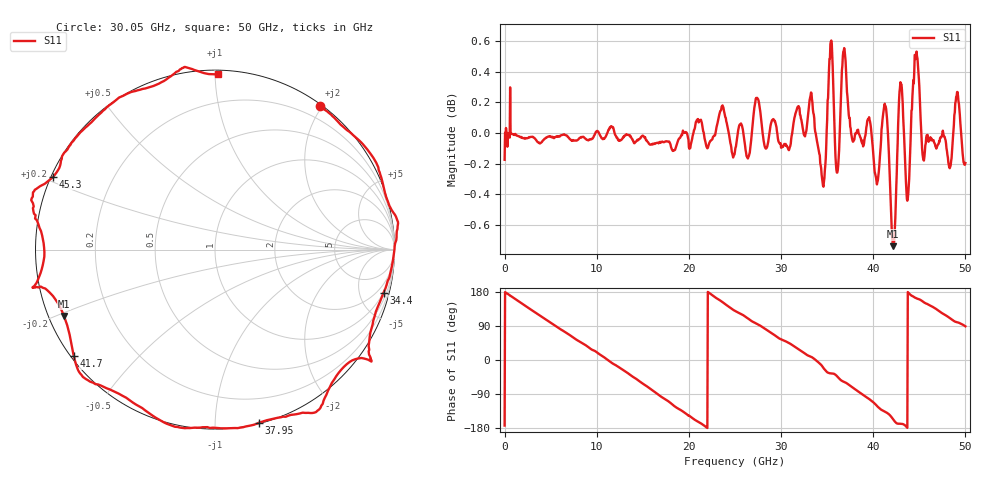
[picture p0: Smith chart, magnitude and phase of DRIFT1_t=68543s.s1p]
!Created with skrf (http://scikit-rf.org).
# Hz S RI R 50.0
!freq ReS11 ImS11
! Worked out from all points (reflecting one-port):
!   1001 points, 300 kHz to 50 GHz, reference 50 ohm
!   lowest |S11| = -0.7 dB at 42.15 GHz (marker M1), VSWR 23.58, Z = 2.21 - j10.5 ohm
!   phase of S11 starts at -173 deg and turns -818 deg over the sweep
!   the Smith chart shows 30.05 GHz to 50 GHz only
!   S11 on the Smith chart (normalised r, x): 30.05 GHz: 0.03, +1.97; 34.4 GHz: 1.00, -7.86; 37.95 GHz: 0.01, -1.29; 41.7 GHz: 0.01, -0.33; 45.3 GHz: 0.01, +0.21; 50 GHz: 0.02, +1.02
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300000  -0.9729 -0.1188
1.450291e9  -0.9123 0.4041
3.25028e9  -0.593 0.8004
6.250262e9  0.1989 0.9786
9.500243e9  0.888 0.4506
1.250022e10  0.9303 -0.3516
1.580021e10  0.2422 -0.9613
1.73502e10  -0.2108 -0.9707
1.875019e10  -0.5983 -0.7925
2.160017e10  -0.9914 -0.1355
2.345016e10  -0.9298 0.4121
2.500015e10  -0.6274 0.7611
2.745014e10  -0.0833 1.023
3.005012e10  0.584 0.7985
3.125011e10  0.782 0.6272
3.31501e10  1.012 0.1713
3.440009e10  0.9393 -0.2391
3.520009e10  0.8637 -0.5951
3.750008e10  0.3788 -0.9307
3.795007e10  0.2463 -0.9641
3.960006e10  -0.239 -0.9813
4.170005e10  -0.7874 -0.5912
4.215005e10  -0.8407 -0.3703
4.290004e10  -1.013 -0.2119
4.375004e10  -0.9521 0.0104
4.530003e10  -0.9014 0.4062
4.765001e10  -0.512 0.8567
5e10  0.0194 0.9776
